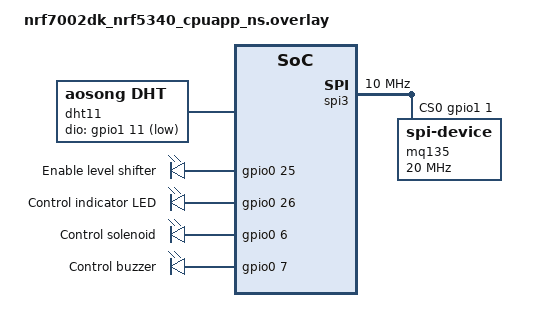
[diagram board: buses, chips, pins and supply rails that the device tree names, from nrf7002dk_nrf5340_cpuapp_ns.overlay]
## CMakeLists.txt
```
#
# Copyright (c) 2021 Nordic Semiconductor ASA
#
# SPDX-License-Identifier: LicenseRef-Nordic-5-Clause
#

cmake_minimum_required(VERSION 3.20.0)

# Set Kconfig root files that will be processed as a first Kconfig for used child images.
set(mcuboot_KCONFIG_ROOT "\\\${ZEPHYR_CONNECTEDHOMEIP_MODULE_DIR}/config/nrfconnect/chip-module/Kconfig.mcuboot.root")
set(multiprotocol_rpmsg_KCONFIG_ROOT "\\\${ZEPHYR_CONNECTEDHOMEIP_MODULE_DIR}/config/nrfconnect/chip-module/Kconfig.multiprotocol_rpmsg.root")
set(hci_rpmsg_KCONFIG_ROOT "\\\${ZEPHYR_CONNECTEDHOMEIP_MODULE_DIR}/config/nrfconnect/chip-module/Kconfig.hci_rpmsg.root")

# For prj.conf the CONF_FILE is empty. In other case extract the exact file name from the path string.
if(CONF_FILE)
    get_filename_component(CONFIG_FILE_NAME ${CONF_FILE} NAME)
endif()

if(NOT "${CONFIG_FILE_NAME}" STREQUAL "prj_no_dfu.conf")
    set(PM_STATIC_YML_FILE ${CMAKE_CURRENT_SOURCE_DIR}/configuration/${BOARD}/pm_static_dfu.yml)
endif()

find_package(Zephyr HINTS $ENV{ZEPHYR_BASE})

project(project_prometheus)

set(COMMON_ROOT ${ZEPHYR_NRF_MODULE_DIR}/samples/matter/common)
set(NLIO_ROOT ${ZEPHYR_CONNECTEDHOMEIP_MODULE_DIR}/third_party/nlio/repo)
include(${ZEPHYR_CONNECTEDHOMEIP_MODULE_DIR}/config/nrfconnect/app/enable-gnu-std.cmake)
include(${ZEPHYR_CONNECTEDHOMEIP_MODULE_DIR}/src/app/chip_data_model.cmake)

# NORDIC SDK APP START
target_include_directories(app PRIVATE
    src
    ${COMMON_ROOT}/src
    ${NLIO_ROOT}/include
    ${ZEPHYR_CONNECTEDHOMEIP_MODULE_DIR}/zzz_generated/app-common
)

target_sources(app PRIVATE
    src/app_task.cpp
    src/main.cpp
    src/zap-generated/IMClusterCommandHandler.cpp
    src/zap-generated/callback-stub.cpp
    ${COMMON_ROOT}/src/led_widget.cpp
)

if(CONFIG_CHIP_OTA_REQUESTOR)
    target_sources(app PRIVATE ${COMMON_ROOT}/src/ota_util.cpp)
endif()

chip_configure_data_model(app
    INCLUDE_SERVER
    BYPASS_IDL
    GEN_DIR src/zap-generated
    ZAP_FILE ${CMAKE_CURRENT_SOURCE_DIR}/src/template.zap
)
# NORDIC SDK APP END
```

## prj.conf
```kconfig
CONFIG_SENSOR=y
CONFIG_GPIO=y

# Need float format support
CONFIG_CBPRINTF_FP_SUPPORT=y

CONFIG_SPI=y

CONFIG_CJSON_LIB=y

CONFIG_SERIAL=y
CONFIG_UART_INTERRUPT_DRIVEN=y
```

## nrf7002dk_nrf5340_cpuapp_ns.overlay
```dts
// To get started, press Ctrl+Space to bring up the completion menu and view the available nodes.

// You can also use the buttons in the sidebar to perform actions on nodes.
// Actions currently available include:

// * Enabling / disabling the node
// * Adding the bus to a bus
// * Removing the node
// * Connecting ADC channels

// For more help, browse the DeviceTree documentation at https://docs.zephyrproject.org/latest/guides/dts/index.html
// You can also visit the nRF DeviceTree extension documentation at https://nrfconnect.github.io/vscode-nrf-connect/devicetree/nrfdevicetree.html

/ {
	dht11 {
		compatible = "aosong,dht";
		status = "okay";
		dio-gpios = <&gpio1 11 (GPIO_PULL_UP | GPIO_ACTIVE_LOW)>;
	};

    board_interface {
		compatible = "gpio-leds";

		engage_device: engage_device {
			gpios = <&gpio0 25 (GPIO_OPEN_SOURCE)>;
			label = "Enable level shifter";
		};

		indicator_led: indicator_led {
			gpios = <&gpio0 26 (GPIO_OPEN_DRAIN)>;
			label = "Control indicator LED";
		};

		solenoid: solenoid {
			gpios = <&gpio0 6 (GPIO_OPEN_DRAIN)>;
			label = "Control solenoid";
		};

		buzzer: buzzer {
			gpios = <&gpio0 7 (GPIO_OPEN_DRAIN)>;
			label = "Control buzzer";
		};
	};
};

&spi3 {
    compatible = "nordic,nrf-spim";
    status = "okay";
    cs-gpios = < &gpio1 1 (GPIO_ACTIVE_HIGH || GPIO_OPEN_DRAIN) >;
    clock-frequency = < 10000000 >;

    mq135: mq135@0 {
        compatible = "spi-device";
        reg = < 0 >;
        spi-max-frequency = < 20000000 >;
    };
};
```

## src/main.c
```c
/*
        PROJECT PROMETHEUS v2.0
        Prometheus Fire Alarm system developed on nRF7002 platform.
        © 2024, Asanka Sovis
        v2.1.1
        Started: 01/11/2023
        Last Edited: 14/01/2024
*/

#include <zephyr/kernel.h>
#include <zephyr/device.h>
#include <zephyr/drivers/sensor.h>
#include <zephyr/drivers/spi.h>
#include <zephyr/drivers/uart.h>
#include <stdio.h>
#include <string.h>
#include <zephyr/data/json.h>
#include <cJSON.h>

// Device Nodes
#define ENGAGE_NODE DT_NODELABEL(engage_device)         // Enable for level shifter
#define INDICATOR_LED_NODE DT_NODELABEL(indicator_led)  // Indicator LED
#define SOLENOID_NODE DT_NODELABEL(solenoid)            // Solenoid control
#define BUZZER_NODE DT_NODELABEL(buzzer)                // Buzzer
#define LED0_NODE DT_ALIAS(led0)                        // Built-in LED
#define SPI0_NODE DT_NODELABEL(mq135)                   // MQ-135 sensor
#define UART_DEVICE_NODE DT_CHOSEN(zephyr_shell_uart)   // Internal UART

#define CMD_SIZE 20                                     // UART _command size
#define MSG_SIZE 32                                     // UART message size
K_MSGQ_DEFINE(uart_msgq, MSG_SIZE+CMD_SIZE+2, 10, 4);   // UART message size definition

#define INITIALIZE_TIMEOUT 1                            // Timeout for initialization in sec

#define DEVICE_INFO "{\"name\":\"Fire Alarm model\",\"version\":\"v1.2\",\"id\":\"ZO5RtFTPNTBvs6QhrtnXeFCldG3vZgJu\"}"
                                                        // Device info of the device

// GPIO pin definition
static const struct gpio_dt_spec pin_engage = GPIO_DT_SPEC_GET(ENGAGE_NODE, gpios);     // Enable for level shifter
static const struct gpio_dt_spec pin_led = GPIO_DT_SPEC_GET(INDICATOR_LED_NODE, gpios); // Indicator LED
static const struct gpio_dt_spec pin_solenoid = GPIO_DT_SPEC_GET(SOLENOID_NODE, gpios); // Solenoid control
static const struct gpio_dt_spec pin_buzzer = GPIO_DT_SPEC_GET(BUZZER_NODE, gpios);     // Buzzer
static const struct gpio_dt_spec pin_builtin_led = GPIO_DT_SPEC_GET(LED0_NODE, gpios);  // Built-in LED

// SPI configuration
const struct spi_config spi_cfg = {
    .frequency = DT_PROP(DT_NODELABEL(spi3), clock_frequency),
    .operation = SPI_OP_MODE_MASTER | SPI_TRANSFER_MSB | SPI_WORD_SET(8),
    .cs = {
        .gpio = {
            .port = DEVICE_DT_GET(DT_SPI_DEV_CS_GPIOS_CTLR(DT_NODELABEL(mq135))),
            .pin = DT_SPI_DEV_CS_GPIOS_PIN(DT_NODELABEL(mq135)),
            .dt_flags = DT_SPI_DEV_CS_GPIOS_FLAGS(DT_NODELABEL(mq135)),
        },
        .delay = 400,
    },
};

// Device configuration
const struct device *mq135_spi = DEVICE_DT_GET(DT_NODELABEL(spi3));                     // MQ-135
const struct device *dht11 = DEVICE_DT_GET_ONE(aosong_dht);                             // DHT-11
const struct device *uart_dev = DEVICE_DT_GET(UART_DEVICE_NODE);                        // Internal UART

// Variables ----------------------------------------------------------------------
// CO2, Temperature and Humidity levels recorded
double temperature = 0; double humidity = 0; int co2 = 0;

// Caps of CO2, Temperature and Humidity to turn on the alarm
int co2_cap = 1000; double temp_cap = 85; double humid_cap = 30;

bool warning = false;           // Indicate whether to turn on the warning
bool open_valve = false;         // Indicate whether to open the valve
bool override = false;          // Variable to override the warning
bool user_buzz = false;          // Variable to override and turn on the warning
bool user_valve = false;         // Variable to override and turn on the valve

int builtin_led_counter = 0;

// Function definitions -----------------------------------------------------------
// Utility
static const int now_str(void); // Prints the current time since execution

// DHT-11
int initialize_dht11();         // Initializes the DHT-11
int read_dht11() ;              // Reads the DHT-11
int print_temp_humid();         // Prints the temperature and humidity

// MQ-135
int initialize_mq135();         // Initializes the DHT-11
int read_mq135();               // Reads the DHT-11
int print_co2();                // Prints the CO2 level

// GPIO
int initialize_device(const struct gpio_dt_spec _device, gpio_flags_t _flags);
                                // Initialize GPIO

// UART
int initialize_uart();          // Initialize UART
void serial_cb(const struct device *_dev, void *_user_data);
                                // Serial read

// Device Specific
void initialize();              // Initialize device
void send_update(float _co2, float _temp, float _humid);
                                // Send status through UART
void compare(float _co2, float _temp, float _humid);
                                // Compare for anomalies
void buzz();                    // Buzz the buzzer
void control_valve();           // Open the valve
void indicator();               // Indicator run
void override_alarm(bool _value);// Override alarm
void custom_buzz(bool _value);  // Buzz by user
void custom_valve(bool _value); // Valve open by user
void get_caps();                // Sends the cap levels
void set_caps(char *_input);    // Set the cap levels
void command_recieved(char * _command, char * _data);
                                // Recieved a command

// Start of functions --------------------------------------------------------
int main(void)
{
        printk("\nPROMETHEUS FIRE ALARM SYSTEM v2.0\n");
        now_str();
        printk("Initializing hardware...\n");
        initialize();

        now_str();
        printk("Arming the device...\n");
        gpio_pin_set_dt(&pin_engage, 1);
        printk("Device armed. Sensors actively monitoring...\n");

        printk("initialize:\n");

        gpio_pin_set_dt(&pin_builtin_led, 0);

	while (true) {
                if (false) {
                        if (read_dht11() == 0) {
                                print_temp_humid();
                        }

                        if (read_mq135() == 0) {
                                print_co2();
                        }
                }

                compare(co2, temperature, humidity);

                buzz();
                indicator();
                control_valve();
		
                if (false) {
                        printk("\n");
                }


                if (builtin_led_counter == 10) {
                        gpio_pin_set_dt(&pin_builtin_led, 1);
                        k_sleep(K_SECONDS(0.1));
                        gpio_pin_set_dt(&pin_builtin_led, 0);
                        builtin_led_counter = 0;
                } else {
                        gpio_pin_set_dt(&pin_builtin_led, 0);
                        builtin_led_counter++;
                        k_sleep(K_SECONDS(0.1));
                }

                
	}

	return 0;
}

void initialize() {
        /*
                Initializes the devices

                Arguments none
                Returns void
        */

        int error_flag = 0;

        do {
                error_flag += initialize_device(pin_engage, GPIO_OUTPUT);
                error_flag += initialize_device(pin_led, GPIO_OUTPUT);
                error_flag += initialize_device(pin_solenoid, GPIO_OUTPUT);
                error_flag += initialize_device(pin_buzzer, GPIO_OUTPUT);
                error_flag += initialize_device(pin_builtin_led, GPIO_OUTPUT);
                error_flag += initialize_dht11();
                error_flag += initialize_mq135();
                error_flag += initialize_uart();

                if (error_flag != 0) {
                        now_str();
                        printk("One or more devices could not be initialized. Will retry in %d seconds...\n", INITIALIZE_TIMEOUT);

                        gpio_pin_toggle_dt(&pin_builtin_led);
                        k_sleep(K_SECONDS(INITIALIZE_TIMEOUT /2));
                        gpio_pin_toggle_dt(&pin_builtin_led);
                        k_sleep(K_SECONDS(INITIALIZE_TIMEOUT /2));

                        error_flag = 0;
                } else {
                        gpio_pin_set_dt(&pin_builtin_led, 1);

                        now_str();
                        printk("Hardware initialized.\n");
                }
        } while (error_flag != 0);
}

/* 
GENERAL FUNCTIONS -------------------------------------------------------------
 */

static const int now_str(void)
{
        /*
                Prints the time since device started on terminal for debugging
                purposes.

                Arguments void
                Returns int 0
        */
	uint32_t now = k_uptime_get_32();
	unsigned int ms = now % MSEC_PER_SEC;
	unsigned int s;
	unsigned int min;
	unsigned int h;

	now /= MSEC_PER_SEC;
	s = now % 60U;
	now /= 60U;
	min = now % 60U;
	now /= 60U;
	h = now;

	printk("[%u:%02u:%02u.%03u]: ",
		 h, min, s, ms);
	return 0;
}

/*
DHT 11 Functions --------------------------------------------------------------
*/

int print_temp_humid() {
        /*
                Prints the temperature and humidity reading from DHT-11

                Arguments null
                Returns int 0
        */
        now_str();

        printk("%.1f Cel ; %.1f %%RH\n",
                temperature,
                humidity
                );

        return 0;
}

int read_dht11() {
        /*
                Reads the DHT-11 sensor

                Arguments null
                Returns int error (0-no error)
        */
        now_str();
        printk("Reading DHT11 data...\n");

        struct sensor_value sense_temperature;
        struct sensor_value sense_humidity;

        int error = sensor_sample_fetch(dht11);

        error += sensor_channel_get(dht11, SENSOR_CHAN_AMBIENT_TEMP,
                                &sense_temperature);
        error += sensor_channel_get(dht11, SENSOR_CHAN_HUMIDITY,
                                &sense_humidity);
        if (error != 0) {
                now_str();
                printk("Failed to read DHT11. Error ID: %d\n", error);

                return error;
        } else {
                temperature = sensor_value_to_double(&sense_temperature);
                humidity = sensor_value_to_double(&sense_humidity);

                now_str();
                printk("DHT11 successfully read.\n");
        }

        return 0;
}

int initialize_dht11() {
        /*
                Initialize the DHT-11 sensor

                Arguments null
                Returns int error (0-no error, 1-device not ready)
        */
	if (!device_is_ready(dht11)) {
                now_str();
		printk("DHT11 is not ready.\n");

		return 1;
	}

        return 0;
}

/*
MQ 135 Functions -------------------------------------------------------------
*/

int print_co2() {
        /*
                Prints the CO2 level

                Arguments null
                Returns int 0
        */

        now_str();
        printk("CO2 Percentage: %d", co2);

        return 0;
}

int read_mq135() {
        /*
                Reads the MQ-135 sensor

                Arguments null
                Returns error (0-no error)
        */

        struct spi_buf rx_bufs = { &co2, 8 };
        struct spi_buf_set rx = { &rx_bufs, 1 };

        int error = spi_read(mq135_spi, &spi_cfg, &rx);

        if (error != 0) {
                now_str();
                printk("Failed to read DHT11. Error ID: %d\n", error);

                return error;
        } else {
                now_str();
                printk("DHT11 successfully read.\n");
        }

        return 0;
}

int initialize_mq135() {
        /*
                Initializes the MQ-135 sensor

                Arguments null
                Returns error (0-no error)
        */

        if (!device_is_ready(mq135_spi)) {
                now_str();
                printk("MQ135 is not ready.\n");

                return 1;
        }

        return 0;
}

/*
IO DEVICE FUNCTIONS ----------------------------------------------------------
*/

int initialize_device(const struct gpio_dt_spec _device, gpio_flags_t _flags) {
        /*
                Initializes the digital IO devices

                Arguments gpio_dt_spec device, gpio_flags_t flags
                Returns int error (0-no error, -1-Device not ready, -2-Pin configuration failure)
        */

	if(!device_is_ready(_device.port)) {
                now_str();
                printk("ERROR: %s could not be initialized. Device is not ready.\n", _device.port->name);

		return -1;
	}

        int ret = gpio_pin_configure_dt(&_device, _flags);
	if (ret) {
                now_str();
                printk("ERROR: %s could not be initialized. Pin configuration failed.\n", _device.port->name);

		return -2;
	}
        gpio_pin_set_dt(&_device, 0);

        return 0;
}

/*
INTERNAL UART FUNCTIONS ------------------------------------------------------
*/

int initialize_uart() {
        /*
                Initializes the internal UART communication

                Arguments null
                Returns int error (0-no error)
        */

        if (!device_is_ready(uart_dev)) {
                now_str();
                printk("UART device is not ready.\n");

                return -1;
        }

        /* configure interrupt and callback to receive data */
        int ret = uart_irq_callback_user_data_set(uart_dev, serial_cb, NULL);

        if (ret < 0) {
                if (ret == -ENOTSUP) {
                        now_str();
                        printk("Interrupt-driven UART API support not enabled\n");
                } else if (ret == -ENOSYS) {
                        now_str();
                        printk("UART device does not support interrupt-driven API\n");
                } else {
                        now_str();
                        printk("Error setting UART callback: %d\n", ret);
                }

                return ret;
        } else {
                uart_irq_rx_enable(uart_dev);
        }

        return 0;
}

void serial_cb(const struct device *_dev, void *_user_data)
{
        /*
                Read characters from UART until line end is detected. Afterwards push the
                data to the message queue.

                Arguments device UART device, void user data
                Returns void
        */

        static char cmd_buf[CMD_SIZE];
        static char msg_buf[MSG_SIZE];

        static int rx_buf_pos;
        bool cmd_read = true;
        uint8_t c;

        if (!uart_irq_update(uart_dev)) {
                return;
        }

        if (!uart_irq_rx_ready(uart_dev)) {
                return;
        }

        while (uart_fifo_read(uart_dev, &c, 1) == 1) {
                if ((c == '\n' || c == '\r') && rx_buf_pos > 0) {
                        // End of line
                        msg_buf[rx_buf_pos] = '\0';

                        // if queue is full, message is silently dropped
                        k_msgq_put(&uart_msgq, &msg_buf, K_NO_WAIT);

                        // reset the buffer (it was copied to the msgq)
                        rx_buf_pos = 0;
                }else if (c == ':') {
                        // End of command
                        cmd_read = false;
                        cmd_buf[rx_buf_pos] = '\0';
                        rx_buf_pos = 0;
                } else if (rx_buf_pos < (sizeof(msg_buf) - 1)) {
                        // Reading
                        if (cmd_read)
                                cmd_buf[rx_buf_pos++] = c;
                        else
                                msg_buf[rx_buf_pos++] = c;
                }
                // else: characters beyond buffer size are dropped

                printk(" \b");
        }

        printk("Command Recieved: %s\n", &cmd_buf[0]);

        command_recieved(&cmd_buf[0], &msg_buf[0]);

        memset(&cmd_buf, 0, sizeof cmd_buf - 1);
        memset(&msg_buf, 0, sizeof msg_buf - 1);
        rx_buf_pos = 0;
        cmd_read = true;
}

/*
COMMUNICATION FUNCTION -------------------------------------------------------
*/

void command_recieved(char * _command, char * _data) {
        /*
                Function to parse recieved commands

                Arguments char* command, char* data
                Returns void
        */
        
        if (strcmp(_command, "override") == 0) {
                // Command to override warnings
                override_alarm(strcmp(_data, "true") == 0);
        } else if (strcmp(_command, "userBuzz") == 0) {
                // Buzz the buzzer by user command
                custom_buzz(strcmp(_data, "true") == 0);
        } else if (strcmp(_command, "userValve") == 0) {
                // Open valve by user command
                custom_valve(strcmp(_data, "true") == 0);
        } else if (strcmp(_command, "deviceInfo") == 0) {
                // Return device info
                printk("deviceInfo:%s\n", DEVICE_INFO);
        } else if (strcmp(_command, "get_caps") == 0) {
                // Return the cap values
                get_caps();
        } else if (strcmp(_command, "set_caps") == 0) {
                // Set the cap values
                set_caps(_data);
        } else if (strcmp(_command, "update") == 0) {
                // Send an update
                send_update(co2, temperature, humidity);
        } else {
                // Invalid command
                printk("%s:unknown _command\n", _command);
                return;
        }    

        // Sends acknowledgement
        printk("ack:%s\n", _command);
}

void send_update(float _co2, float _temp, float _humid) {
        /*
                Serialize the sensor data as JSON and sends it to the serial port

                Arguments float CO2, float temperature, float humidity
                Returns void
        */

        now_str();
        printk("Sending current update. Encoding...\n");

        cJSON *update = cJSON_CreateObject();

        cJSON_AddItemToObject(update, "co2", cJSON_CreateNumber(_co2));
        cJSON_AddItemToObject(update, "temp", cJSON_CreateNumber(_temp));
        cJSON_AddItemToObject(update, "humid", cJSON_CreateNumber(_humid));

        if(override)
                cJSON_AddItemToObject(update, "override", cJSON_CreateTrue());
        else
                cJSON_AddItemToObject(update, "override", cJSON_CreateFalse());

        if(open_valve)
                cJSON_AddItemToObject(update, "open", cJSON_CreateTrue());
        else
                cJSON_AddItemToObject(update, "open", cJSON_CreateFalse());

        if(warning)
                cJSON_AddItemToObject(update, "warning", cJSON_CreateTrue());
        else
                cJSON_AddItemToObject(update, "warning", cJSON_CreateFalse());

        printk("update:%s\n", cJSON_PrintUnformatted(update));
}

void get_caps() {
        /*
                Sends the cap values set for Temp, CO2 and Humidity

                Arguments none
                Returns void
        */

        now_str();
        printk("Sending current cap values. Encoding...\n");

        cJSON *cap_results = cJSON_CreateObject();
        cJSON_AddItemToObject(cap_results, "co2", cJSON_CreateNumber((double)co2_cap));
        cJSON_AddItemToObject(cap_results, "humid", cJSON_CreateNumber(humid_cap));
        cJSON_AddItemToObject(cap_results, "temp", cJSON_CreateNumber(temp_cap));

        printk("get_caps:%s\n", cJSON_PrintUnformatted(cap_results));
}

void set_caps(char *_input) {
        /*
                Sets the cap values set for Temp, CO2 and Humidity

                Arguments char* recieved JSON
                Returns void
        */

        now_str();
        printk("Recieved updated cap values. Decoding...\n");

        cJSON *cap_results = cJSON_Parse(_input);

        const cJSON *co2Cap_json = cJSON_GetObjectItemCaseSensitive(cap_results, "co2");
        const cJSON *humidCap_json = cJSON_GetObjectItemCaseSensitive(cap_results, "humid");
        const cJSON *tempCap_json = cJSON_GetObjectItemCaseSensitive(cap_results, "temp");

        co2_cap = cJSON_GetNumberValue(co2Cap_json);
        humid_cap = cJSON_GetNumberValue(humidCap_json);
        temp_cap = cJSON_GetNumberValue(tempCap_json);

        printk("Caps Updated: CO2 %dppm | Temperature %.1f Cel | Humidity %.1f %%RH\n", co2_cap, temp_cap, humid_cap);
}

/*
CONTROL FUNCTIONS ------------------------------------------------------------
*/

void compare(float _co2, float _temp, float _humid) {
        /*
                Function to check if the levels are high

                Arguments float CO2, float temperature, float humidity
                Returns void
        */

        warning = ((_co2 > co2_cap) || (_humid < humid_cap));
        open_valve = _temp > temp_cap;
}

void buzz() {
        /*
                Function that controls the buzzer

                Arguments none
                Returns void
        */

        if (user_valve || (open_valve && !(override))) {
                // Not overridden and valve open issued or user buzz
                gpio_pin_set_dt(&pin_buzzer, 1);
                k_sleep(K_SECONDS(0.5));
        } else if (user_buzz || (warning && !(override))) {
                // Not overridden and warning issued or user buzz
                gpio_pin_set_dt(&pin_buzzer, 1);
                k_sleep(K_SECONDS(0.5));
                gpio_pin_set_dt(&pin_buzzer, 0);
        } else {
                // Buzzer off
                gpio_pin_set_dt(&pin_buzzer, 0);
                k_sleep(K_SECONDS(0.5));
        }
}

void control_valve() {
        /*
                Function that controls the valve

                Arguments none
                Returns void
        */

        if (user_valve || (open_valve && !(override))) {
                // Not overridden, open valve issued or user valve
                gpio_pin_set_dt(&pin_solenoid, 0);
        } else {
                // Off
                gpio_pin_set_dt(&pin_solenoid, 1);
        }
}

void indicator() {
        /*
                Function that controls the indicator LED

                Arguments none
                Returns void
        */

        if (user_buzz || (warning && !(override))) {
                // Warning issued, not overridden or user buzz
                gpio_pin_set_dt(&pin_led, 1);
        } else if (user_valve || (open_valve && !(override))) {
                // Valve open, nor overridden or user valve open
                gpio_pin_set_dt(&pin_led, 1);
        } else {
                // Standby
                gpio_pin_set_dt(&pin_led, 1);
                k_sleep(K_SECONDS(0.1));
                gpio_pin_set_dt(&pin_led, 0);
        }

        k_sleep(K_SECONDS(0.5));
}

void override_alarm(bool _value) {
        /*
                Overrides the alarm

                Arguments bool value
                Returns void
        */

        override = _value;
}

void custom_buzz(bool _value) {
        /*
                Custom buzzer

                Arguments bool value
                Returns void
        */

        user_buzz = _value;
}

void custom_valve(bool _value) {
        /*
                Open valve

                Arguments bool value
                Returns void
        */
        user_valve = _value;
}
```
